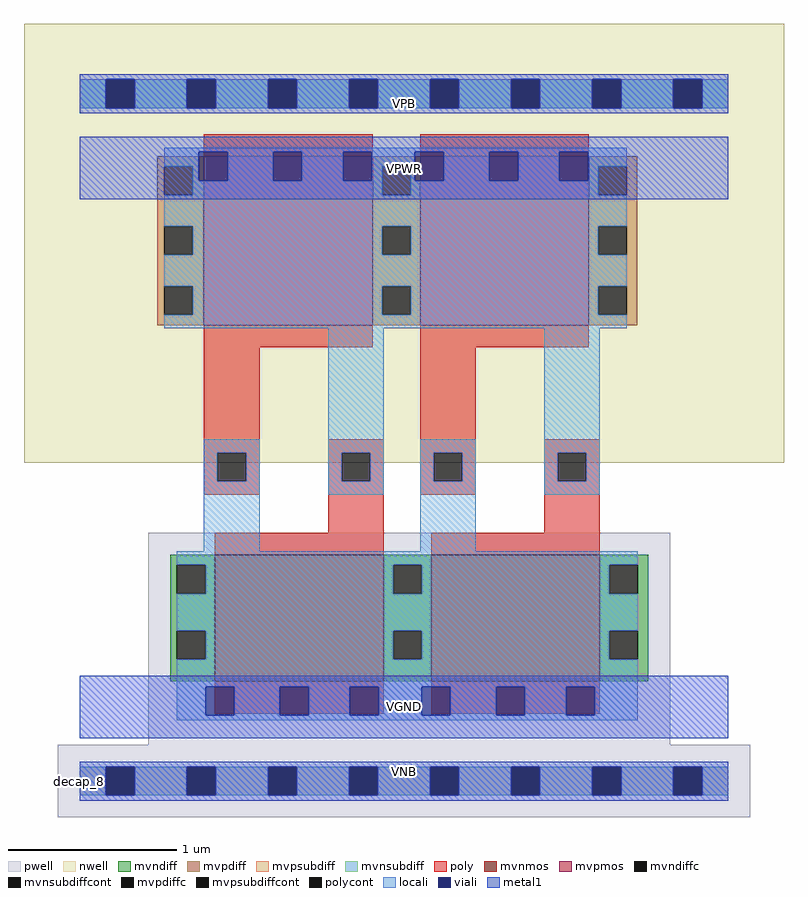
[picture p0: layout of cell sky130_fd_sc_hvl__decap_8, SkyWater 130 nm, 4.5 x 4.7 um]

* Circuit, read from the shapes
.subckt sky130_fd_sc_hvl__decap_8 VGND VNB VPB VPWR
XM1 VGND VPWR VGND VNB sky130_fd_pr__nfet_g5v0d10v5 w=0.75 l=1 m=2
XM2 VPWR VGND VPWR VPB sky130_fd_pr__pfet_g5v0d10v5 w=1 l=1 m=2
.ends

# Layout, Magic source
magic
tech sky130B
magscale 1 2
<< nwell >>
rect -66 377 834 897
<< pwell >>
rect 81 43 699 294
rect -26 -43 794 43
<< mvnmos >>
rect 160 118 360 268
rect 416 118 616 268
<< mvpmos >>
rect 147 540 347 740
rect 403 540 603 740
<< mvndiff >>
rect 107 256 160 268
rect 107 222 115 256
rect 149 222 160 256
rect 107 178 160 222
rect 107 144 115 178
rect 149 144 160 178
rect 107 118 160 144
rect 360 256 416 268
rect 360 222 371 256
rect 405 222 416 256
rect 360 178 416 222
rect 360 144 371 178
rect 405 144 416 178
rect 360 118 416 144
rect 616 256 673 268
rect 616 222 627 256
rect 661 222 673 256
rect 616 178 673 222
rect 616 144 627 178
rect 661 144 673 178
rect 616 118 673 144
<< mvpdiff >>
rect 92 728 147 740
rect 92 694 100 728
rect 134 694 147 728
rect 92 657 147 694
rect 92 623 100 657
rect 134 623 147 657
rect 92 586 147 623
rect 92 552 100 586
rect 134 552 147 586
rect 92 540 147 552
rect 347 728 403 740
rect 347 694 358 728
rect 392 694 403 728
rect 347 657 403 694
rect 347 623 358 657
rect 392 623 403 657
rect 347 586 403 623
rect 347 552 358 586
rect 392 552 403 586
rect 347 540 403 552
rect 603 728 660 740
rect 603 694 614 728
rect 648 694 660 728
rect 603 657 660 694
rect 603 623 614 657
rect 648 623 660 657
rect 603 586 660 623
rect 603 552 614 586
rect 648 552 660 586
rect 603 540 660 552
<< mvndiffc >>
rect 115 222 149 256
rect 115 144 149 178
rect 371 222 405 256
rect 371 144 405 178
rect 627 222 661 256
rect 627 144 661 178
<< mvpdiffc >>
rect 100 694 134 728
rect 100 623 134 657
rect 100 552 134 586
rect 358 694 392 728
rect 358 623 392 657
rect 358 552 392 586
rect 614 694 648 728
rect 614 623 648 657
rect 614 552 648 586
<< mvpsubdiff >>
rect 0 -17 31 17
rect 65 -17 127 17
rect 161 -17 223 17
rect 257 -17 319 17
rect 353 -17 415 17
rect 449 -17 511 17
rect 545 -17 607 17
rect 641 -17 703 17
rect 737 -17 768 17
<< mvnsubdiff >>
rect 0 797 31 831
rect 65 797 127 831
rect 161 797 223 831
rect 257 797 319 831
rect 353 797 415 831
rect 449 797 511 831
rect 545 797 607 831
rect 641 797 703 831
rect 737 797 768 831
<< mvpsubdiffcont >>
rect 31 -17 65 17
rect 127 -17 161 17
rect 223 -17 257 17
rect 319 -17 353 17
rect 415 -17 449 17
rect 511 -17 545 17
rect 607 -17 641 17
rect 703 -17 737 17
<< mvnsubdiffcont >>
rect 31 797 65 831
rect 127 797 161 831
rect 223 797 257 831
rect 319 797 353 831
rect 415 797 449 831
rect 511 797 545 831
rect 607 797 641 831
rect 703 797 737 831
<< poly >>
rect 147 740 347 766
rect 403 740 603 766
rect 147 514 347 540
rect 403 514 603 540
rect 147 389 213 514
rect 147 355 163 389
rect 197 355 213 389
rect 147 339 213 355
rect 294 389 360 405
rect 294 355 310 389
rect 344 355 360 389
rect 294 294 360 355
rect 403 389 469 514
rect 403 355 419 389
rect 453 355 469 389
rect 403 339 469 355
rect 550 389 616 405
rect 550 355 566 389
rect 600 355 616 389
rect 550 294 616 355
rect 160 268 360 294
rect 416 268 616 294
rect 160 80 360 118
rect 416 80 616 118
<< polycont >>
rect 163 355 197 389
rect 310 355 344 389
rect 419 355 453 389
rect 566 355 600 389
<< locali >>
rect 0 797 31 831
rect 65 797 127 831
rect 161 797 223 831
rect 257 797 319 831
rect 353 797 415 831
rect 449 797 511 831
rect 545 797 607 831
rect 641 797 703 831
rect 737 797 768 831
rect 100 745 648 750
rect 100 728 141 745
rect 134 711 141 728
rect 175 711 229 745
rect 263 711 312 745
rect 346 728 397 745
rect 346 711 358 728
rect 134 694 358 711
rect 392 711 397 728
rect 431 711 485 745
rect 519 711 568 745
rect 602 728 648 745
rect 602 711 614 728
rect 392 694 614 711
rect 100 657 648 694
rect 134 623 358 657
rect 392 623 614 657
rect 100 586 648 623
rect 134 552 358 586
rect 392 552 614 586
rect 100 536 648 552
rect 147 389 213 405
rect 147 355 163 389
rect 197 355 213 389
rect 147 272 213 355
rect 294 389 360 536
rect 294 355 310 389
rect 344 355 360 389
rect 294 339 360 355
rect 403 389 469 405
rect 403 355 419 389
rect 453 355 469 389
rect 403 272 469 355
rect 550 389 616 536
rect 550 355 566 389
rect 600 355 616 389
rect 550 339 616 355
rect 115 256 661 272
rect 149 222 371 256
rect 405 222 627 256
rect 115 178 661 222
rect 149 144 371 178
rect 405 144 627 178
rect 115 112 661 144
rect 115 78 149 112
rect 183 78 237 112
rect 271 78 320 112
rect 354 78 405 112
rect 439 78 493 112
rect 527 78 576 112
rect 610 78 661 112
rect 115 72 661 78
rect 0 -17 31 17
rect 65 -17 127 17
rect 161 -17 223 17
rect 257 -17 319 17
rect 353 -17 415 17
rect 449 -17 511 17
rect 545 -17 607 17
rect 641 -17 703 17
rect 737 -17 768 17
<< viali >>
rect 31 797 65 831
rect 127 797 161 831
rect 223 797 257 831
rect 319 797 353 831
rect 415 797 449 831
rect 511 797 545 831
rect 607 797 641 831
rect 703 797 737 831
rect 141 711 175 745
rect 229 711 263 745
rect 312 711 346 745
rect 397 711 431 745
rect 485 711 519 745
rect 568 711 602 745
rect 149 78 183 112
rect 237 78 271 112
rect 320 78 354 112
rect 405 78 439 112
rect 493 78 527 112
rect 576 78 610 112
rect 31 -17 65 17
rect 127 -17 161 17
rect 223 -17 257 17
rect 319 -17 353 17
rect 415 -17 449 17
rect 511 -17 545 17
rect 607 -17 641 17
rect 703 -17 737 17
<< metal1 >>
rect 0 831 768 837
rect 0 797 31 831
rect 65 797 127 831
rect 161 797 223 831
rect 257 797 319 831
rect 353 797 415 831
rect 449 797 511 831
rect 545 797 607 831
rect 641 797 703 831
rect 737 797 768 831
rect 0 791 768 797
rect 0 745 768 763
rect 0 711 141 745
rect 175 711 229 745
rect 263 711 312 745
rect 346 711 397 745
rect 431 711 485 745
rect 519 711 568 745
rect 602 711 768 745
rect 0 689 768 711
rect 0 112 768 125
rect 0 78 149 112
rect 183 78 237 112
rect 271 78 320 112
rect 354 78 405 112
rect 439 78 493 112
rect 527 78 576 112
rect 610 78 768 112
rect 0 51 768 78
rect 0 17 768 23
rect 0 -17 31 17
rect 65 -17 127 17
rect 161 -17 223 17
rect 257 -17 319 17
rect 353 -17 415 17
rect 449 -17 511 17
rect 545 -17 607 17
rect 641 -17 703 17
rect 737 -17 768 17
rect 0 -23 768 -17
<< labels >>
rlabel comment s 0 0 0 0 4 decap_8
flabel metal1 s 0 0 768 23 0 FreeSans 340 0 0 0 VNB
port 2 nsew ground bidirectional
flabel metal1 s 0 51 768 125 0 FreeSans 340 0 0 0 VGND
port 1 nsew ground bidirectional
flabel metal1 s 384 11 384 11 0 FreeSans 340 0 0 0 VNB
flabel metal1 s 0 689 768 763 0 FreeSans 340 0 0 0 VPWR
port 4 nsew power bidirectional
flabel metal1 s 0 791 768 814 0 FreeSans 340 0 0 0 VPB
port 3 nsew power bidirectional
flabel metal1 s 384 802 384 802 0 FreeSans 340 0 0 0 VPB
<< properties >>
string FIXED_BBOX 0 0 768 814
string GDS_END 955054
string GDS_FILE $PDKPATH/libs.ref/sky130_fd_sc_hvl/gds/sky130_fd_sc_hvl.gds
string GDS_START 948224
string LEFclass CORE
string LEFsite unithv
string LEFsymmetry X Y
<< end >>
